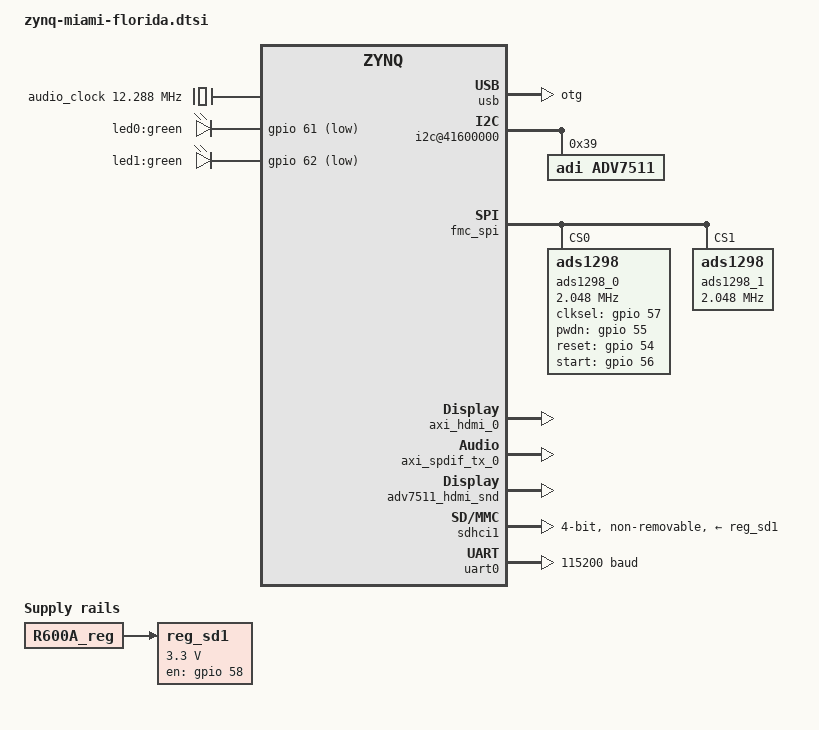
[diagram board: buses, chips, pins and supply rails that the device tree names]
/include/ "zynq-miami.dtsi"

/ {
		/* SD 1 for WiFi card */
		reg_sd1: regulator_sd1 {
			compatible = "regulator-fixed";
			regulator-name = "wl-wifi";
			regulator-min-microvolt = <3300000>;
			regulator-max-microvolt = <3300000>;
			vin-supply = <&R600A_reg>;
			gpio = <&gpio 58 0>;
			enable-active-high;
			/* regulator-always-on;
			   regulator-boot-on; */
			startup-delay-us = <70000>;
		};
};

&usb {
	dr_mode = "otg";
};

&fpga_axi {
		i2c@41600000 {
			compatible = "xlnx,axi-iic-1.01.b", "xlnx,xps-iic-2.00.a";
			interrupt-parent = <&gic>;
			interrupts = <0 58 0x4>;
			reg = <0x41600000 0x10000>;

			#size-cells = <0>;
			#address-cells = <1>;

			adv7511: adv7511@39 {
				compatible = "adi,adv7511";
				reg = <0x39>;

				adi,input-style = <0x02>;
				adi,input-id = <0x01>;
				adi,input-color-depth = <0x3>;
				adi,sync-pulse = <0x03>;
				adi,bit-justification = <0x01>;
				adi,up-conversion = <0x00>;
				adi,timing-generation-sequence = <0x00>;
				adi,vsync-polarity = <0x02>;
				adi,hsync-polarity = <0x02>;
				adi,tdms-clock-inversion;
				adi,clock-delay = <0x03>;
			};
		};

		fmc_spi: spi@e0006000 {
			bus-num = <1>;
			compatible = "cdns,spi-r1p6";
			interrupt-parent = <&gic>;
			interrupts = <0 26 4>;
			clock-names = "ref_clk", "pclk";
			clocks = <&clkc 25>, <&clkc 34>;
			num-cs = <4>;
			reg = <0xe0006000 0x1000>;
			speed-hz = <100000000>;
			xlnx,has-ss0 = <0x1>;
			xlnx,has-ss1 = <0x1>;
			xlnx,has-ss2 = <0x1>;
			xlnx,spi-clk-freq-hz = <100000000>;
			#address-cells = <1>;
			#size-cells = <0>;

			/* TI medical ADC */
			ads1298_0: ads1298@0 {
				#address-cells = <1>;
				#size-cells = <0>;
				#clock-cells = <1>;
				compatible = "ads1298";
				/* SPI Setup */
				reg = <0>;
				spi-cpha;
				spi-max-frequency = <2048000>;
				/* GPIO Setup */
				clksel-gpio = <&gpio 57 0>;
				/* drdy-gpio = <&gpio 12 0>; */
				pwdn-gpio = <&gpio 55 0>;
				reset-gpio = <&gpio 54 0>;
				start-gpio = <&gpio 56 0>;
				rdy-irq {
					interrupt-parent = <&gic>;
					interrupts = <0 56 0x1>;
				};
			};

			/* TI medical ADC */
			ads1298_1: ads1298@1 {
				#address-cells = <1>;
				#size-cells = <0>;
				#clock-cells = <1>;
				compatible = "ads1298";
				/* SPI Setup */
				reg = <1>;
				spi-cpha;
				spi-max-frequency = <2048000>;
			};
		};

		axi_vdma_0: axivdma@43000000 {
			compatible = "xlnx,axi-vdma";
			#address-cells = <1>;
			#size-cells = <1>;
			#dma-cells = <1>;
			#dma-channels = <1>;
			reg = <0x43000000 0x1000>;
			xlnx,include-sg = <0x0>;
			xlnx,num-fstores = <0x3>;
			dma-channel@43000000 {
				compatible = "xlnx,axi-vdma-mm2s-channel";
				interrupts = <0 59 0x4>;
				xlnx,datawidth = <0x40>;
				xlnx,genlock-mode = <0x0>;
				xlnx,include-dre = <0x0>;
			};
		};

		hdmi_clock: axi-clkgen@79000000 {
			compatible = "adi,axi-clkgen-2.00.a";
			reg = <0x79000000 0x10000>;
			#clock-cells = <0>;
			clocks = <&clkc 17>;
		};

		axi_hdmi_0: axi_hdmi@70e00000 {
			compatible = "adi,axi-hdmi-tx-1.00.a";
			reg = <0x70e00000 0x10000>;
			encoder-slave = <&adv7511>;
			dmas = <&axi_vdma_0 0>;
			dma-names = "video";
			clocks = <&hdmi_clock>;
		};

		audio_clock: audio_clock {
			compatible = "fixed-clock";
			#clock-cells = <0>;
			clock-frequency = <12288000>;
		};

		axi_spdif_tx_0: axi-spdif-tx@0x75c00000 {
			compatible = "adi,axi-spdif-tx-1.00.a";
			reg = <0x75c00000 0x1000>;
			dmas = <&ps7_dma 0>;
			dma-names = "tx";
			clocks = <&clkc 15 &audio_clock>;
			clock-names = "axi", "spdif";
		};

		adv7511_hdmi_snd: adv7511_hdmi_snd {
			compatible = "adv7511-hdmi-snd";
			audio-codec = <&adv7511>;
			cpu-dai = <&axi_spdif_tx_0>;
		};

		sdhci1: sdhci@e0101000 {
			compatible = "arasan,sdhci-8.9a";
			reg = <0xe0101000 0x1000>;
			interrupts = <0 47 4>;
			interrupt-parent = <&gic>;
			clock-names = "clk_xin", "clk_ahb";
			clocks = <&clkc 22>, <&clkc 33>;
			disable-wp;
			broken-cd;
			non-removable;
			vmmc-supply = <&reg_sd1>;
			/* vqmmc-supply = <&R600B_reg>; */
			bus-width = <4>;
			cap-power-off-card;
		};
		/* UART for bluetooth */
		uart0: uart@e0000000 {
			compatible = "xlnx,xuartps";
			reg = <0xE0000000 0x1000>;
			interrupts = <0 27 4>;
			interrupt-parent = <&gic>;
			clocks = <&clkc 23>, <&clkc 40>;
			clock-names = "ref_clk", "aper_clk";
			port-number = <1>;
			current-speed = <115200>;
			device_type = "serial";
		};
};

/ {
	/* Does not actually work, but was worth a try */
	wlan {
		compatible = "ti,wilink6";
		interrupt-parent = <&gic>;
		interrupts = <0 55 0x4>;	/* IRQ 87 level triggered */
		clocks = <&refclock>;
		clock-names = "refclock";
		refclock: refclock {
			compatible = "ti,wilink-clock";
			#clock-cells = <0>;
			clock-frequency = <38400000>;
		};
	 };
};

&leds {
		led0: led0 {
			label = "led0:green";
			gpios = <&gpio 61 1>; /* Active low */
			linux,default-trigger = "mmc0";
		};
		led1: led1 {
			label = "led1:green";
			gpios = <&gpio 62 1>;
			linux,default-trigger = "mmc1";
		};
	/* LED2 connected to PL in the current design, EMIO9 is connected to
	   WLAN IRQ instead. */
};
